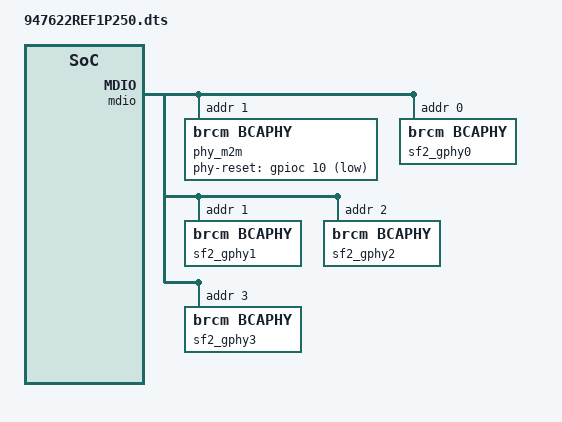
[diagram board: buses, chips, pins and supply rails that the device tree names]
#include "47622.dtsi"

/ {
    memory_controller {
        memcfg = <(BP_DDR_SPEED_1067_14_14_14 | \
                   BP_DDR_TOTAL_SIZE_512MB    | \
                   BP_DDR_DEVICE_WIDTH_16     | \
                   BP_DDR_TOTAL_WIDTH_16BIT   | \
                   BP_DDR_SSC_CONFIG_1)>;
    };
	buttons {
		compatible = "brcm,buttons";
		ses_button {
			ext_irq = <&bca_extintr 4 BCA_GPIO_ACTIVE_LOW (BCA_EXTINTR_TYPE_LOW_LEVEL | BCA_EXTINTR_TYPE_SENSE_EDGE)>;
			release {
				ses_short_period = <0>;
				ses_long_period = <3>;
			};
		};
	};
   

    switch_sf2:0 {
    };
};

&mdio {
	phy8:8 {
		status = "okay";
	};

	phy_m2m:m2m {
		compatible = "brcm,bcaphy";
		phy-type = "MAC2MAC";
		reg = <1>;
		status = "okay";
		phy-reset = <&gpioc 10 GPIO_ACTIVE_LOW>;  /* external switch reset */
		phy-extswitch;
	};

	/* PHYs on external SF2 switch */
	sf2_gphy0:0 {
		compatible = "brcm,bcaphy";
		phy-type = "EGPHY";
		reg = <0>;
		status = "okay";
	};
	sf2_gphy1:1 {
		compatible = "brcm,bcaphy";
		phy-type = "EGPHY";
		reg = <1>;
		status = "okay";
	};
	sf2_gphy2:2 {
		compatible = "brcm,bcaphy";
		phy-type = "EGPHY";
		reg = <2>;
		status = "okay";
	};
	sf2_gphy3:3 {
		compatible = "brcm,bcaphy";
		phy-type = "EGPHY";
		reg = <3>;
		status = "okay";
	};
};

&switch_sf2 {
	unit = <1>;
	sw-type = "SF2_SW";

	ports {
		#address-cells = <1>;
		#size-cells = <0>;

		sf2_port0@0 {
			phy-handle = <&sf2_gphy0>;
			reg = <0>;
			mac-type = "SF2MAC";
			phy-mode = "gmii";
			gmii-direct;
			status = "okay";
		};
		sf2_port1@1 {
			phy-handle = <&sf2_gphy1>;
			reg = <1>;
			mac-type = "SF2MAC";
			phy-mode = "gmii";
			gmii-direct;
			status = "okay";
		};
		sf2_port2@2 {
			phy-handle = <&sf2_gphy2>;
			reg = <2>;
			mac-type = "SF2MAC";
			phy-mode = "gmii";
			gmii-direct;
			status = "okay";
		};
		sf2_port3@3 {
			phy-handle = <&sf2_gphy3>;
			reg = <3>;
			mac-type = "SF2MAC";
			phy-mode = "gmii";
			gmii-direct;
			status = "okay";
		};
		sf2_port8@8 {
			management;                     /* sf2.p8 <--> sysp.p1 */
			reg = <8>;
			mac-type = "SF2MAC";
			shrink-ipg;
			phy-mode = "gmii";
			gmii-direct;
			status = "okay";
		};
	};
};

&switch0 {
	pinctrl-names = "default", "rgmii"; 
	pinctrl-0 = <&a_rgmii_mdc_pin_68 &a_rgmii_mdio_pin_69 &rgmii_pins>; 
	pinctrl-1 = <&rgmii_pins>; 

	ports {
		/* fixed port configuration */
		sysp_port0@0 {
			phy-handle = <&phy8>;
			status = "okay";
		};
		sysp_port1@1 {
			phy-handle = <&phy_m2m>;
			mii-pinctrl-state = "rgmii";
			phy-mode = "rgmii";
			rgmii-3p3v;
			rx-delay;
			tx-delay;
			link = <&switch_sf2>;           /* sysp.p1 <--> sf2.p8 */
			shrink-ipg;
			status = "okay";
		};
	};
};
